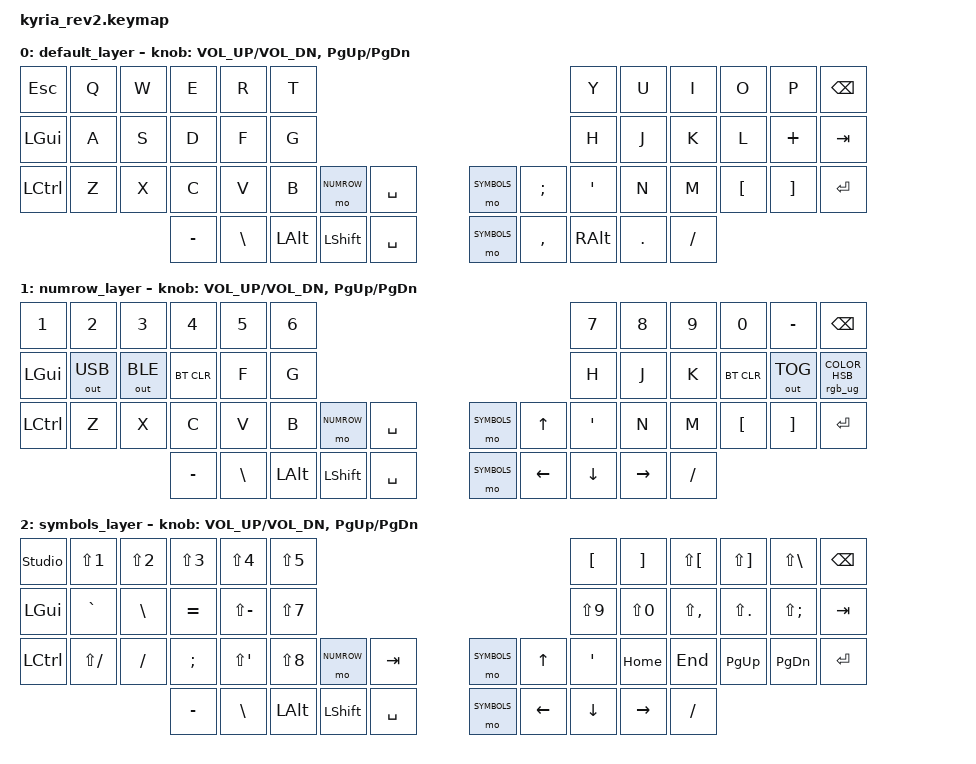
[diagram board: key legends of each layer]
 /*
 * Copyright (c) 2020 The ZMK Contributors
 *
 * SPDX-License-Identifier: MIT
 */

#include <behaviors.dtsi>
#include <dt-bindings/zmk/keys.h>
#include <dt-bindings/zmk/bt.h>
#include <dt-bindings/zmk/outputs.h>
#include <dt-bindings/zmk/rgb.h>
#define DEFAULT 0
#define NUMROW 1
#define SYMBOLS 2


/ {
    keymap { 
        compatible = "zmk,keymap";

        default_layer {
// ---------------------------------------------------------------------------------------------------------------------------------
// |  ESC  |  Q  |  W  |  E   |  R   |  T   |                                          |  Y   |  U    |  I    |  O   |   P   |   BSPC  |
// |  LGUI  |  A  |  S  |  D   |  F   |  G    |                                          |  H   |  J    |  K    |  L   |   +   |   TAB    |
// | LCTRL  |  Z  |  X  |  C   |  V   |  B    |  &mo 1 |   SPACE   |  |  &mo 2  |   ;   |   `   |  N    |  M    |  [   |   ]   |  ENTER  |
//                     |  -  | BSLH  | LALT  |  LSHFT  |   SPACE   |  |   &mo 2   |  ,  | RALT  | .  | / |
            bindings = <
    &kp ESC   &kp Q &kp W &kp E &kp R &kp T                                                &kp Y &kp U  &kp I     &kp O   &kp P    &kp BSPC
    &kp LGUI   &kp A &kp S &kp D &kp F &kp G                                                &kp H &kp J  &kp K     &kp L   &kp PLUS &kp TAB
    &kp LCTRL &kp Z &kp X &kp C &kp V &kp B &mo NUMROW &kp SPACE                 &mo SYMBOLS &kp SEMI &kp SQT &kp N  &kp M &kp LBKT &kp RBKT &kp ENTER
                   &kp MINUS &kp BSLH &kp LALT &kp LSHFT &kp SPACE         &mo SYMBOLS &kp COMMA &kp RALT &kp DOT &kp FSLH  >;
             sensor-bindings = <&inc_dec_kp C_VOL_UP C_VOL_DN &inc_dec_kp PG_UP PG_DN>;
};
    numrow_layer {
// ---------------------------------------------------------------------------------------------------------------------------------
// | 1  |  2  |  3  |  4   |  5   |  6   |                                          |  7   |  8    |  9    |  0   |   -   |   BSPC  |
// |  LGUI  | USB | BLE | BT CLR | F | G |                                            | H | J | K | BT CLR | OUT TOGGLE | RGB |
// | LCTRL  |  Z  |  X  |  C   |  V   |  B    |  &mo 1 |   SPACE   |  |  &mo 2  |   ;   |   UP   |  N    |  M    |  [   |   ]   |  ENTER  |
//                     |  -  | BSLH  | LALT  |  LSHFT  |   SPACE   |  |  &mo 2   |  LEFT  | DOWN  | RIGHT  | / |
            bindings = <
   &kp N1   &kp N2 &kp N3 &kp N4 &kp N5 &kp N6                                                &kp N7 &kp N8  &kp N9     &kp N0   &kp MINUS    &kp BSPC
    &kp LGUI  &out OUT_USB &out OUT_BLE &bt BT_CLR &kp F &kp G                                      &kp H &kp J &kp K &bt BT_CLR     &out OUT_TOG    &rgb_ug RGB_COLOR_HSB(128, 100, 100)
    &kp LCTRL &kp Z &kp X &kp C &kp V &kp B &mo NUMROW &kp SPACE                  &mo SYMBOLS &kp UP &kp SQT &kp N  &kp M &kp LBKT &kp RBKT &kp ENTER
                     &kp MINUS &kp BSLH &kp LALT &kp LSHFT &kp SPACE        &mo SYMBOLS &kp LEFT  &kp DOWN &kp RIGHT &kp FSLH >;

            sensor-bindings = <&inc_dec_kp C_VOL_UP C_VOL_DN &inc_dec_kp PG_UP PG_DN>;
        };
    symbols_layer {
// ---------------------------------------------------------------------------------------------------------------------------------
// |UNLOCK |  !  |  @  |  #   |  $   |  %   |                                          |  [   |  ]    |  {    |  }   |  PIPE |   BSPC  |
// |  LGUI |  `  | BSLH|  =   |  _   |  &   |                                          |  (   |  )    |  <    |  >   |   :   |   TAB   |
// | LCTRL |  ?  |  /  |  ;   | DQT  |  *   |  MO1   |   TAB     |  |  MO2    |  UP   |   '   | HOME  | END  | PGUP | PGDN |  ENTER  |
//                     |  -  | BSLH  | LALT  |  LSHFT  |   SPACE   |  |   MO2    | LEFT | DOWN | RIGHT | / |
            bindings = <
    &studio_unlock   &kp LS(N1) &kp LS(N2) &kp LS(N3) &kp LS(N4) &kp LS(N5)                        &kp LBKT &kp RBKT &kp LS(LBKT) &kp LS(RBKT) &kp LS(BSLH) &kp BSPC
    &kp LGUI  &kp GRAVE &kp BSLH &kp EQUAL &kp LS(MINUS) &kp LS(N7)                         &kp LS(N9) &kp LS(N0) &kp LS(COMMA) &kp LS(DOT) &kp LS(SEMI) &kp TAB
    &kp LCTRL &kp LS(FSLH) &kp FSLH &kp SEMI &kp LS(SQT) &kp LS(N8) &mo NUMROW &kp TAB      &mo SYMBOLS &kp UP &kp SQT &kp HOME &kp END &kp PG_UP &kp PG_DN &kp ENTER
                   &kp MINUS &kp BSLH &kp LALT &kp LSHFT &kp SPACE         &mo SYMBOLS &kp LEFT &kp DOWN &kp RIGHT &kp FSLH >;

            sensor-bindings = <&inc_dec_kp C_VOL_UP C_VOL_DN &inc_dec_kp PG_UP PG_DN>;
        };
    };
};
